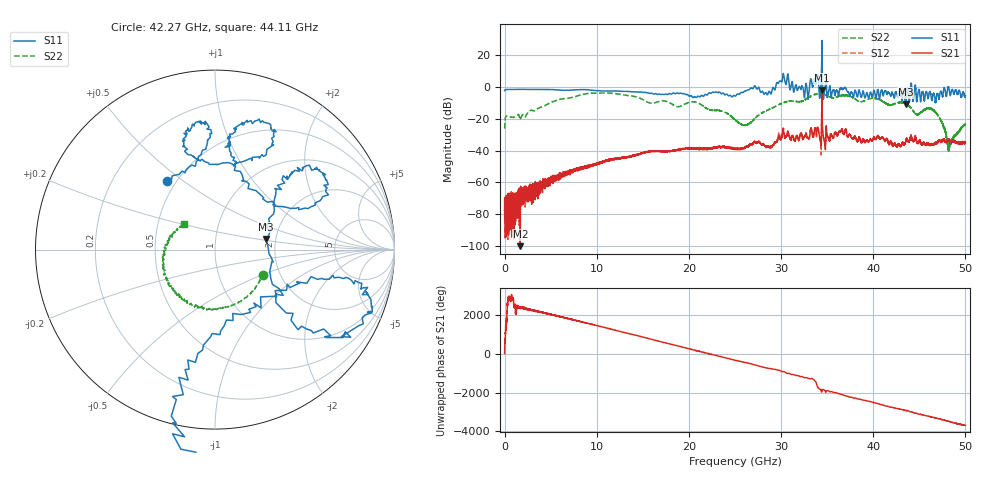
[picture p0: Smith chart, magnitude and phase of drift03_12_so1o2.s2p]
!Created with skrf (http://scikit-rf.org).
# Hz S RI R 50.0
!freq ReS11 ImS11 ReS21 ImS21 ReS12 ImS12 ReS22 ImS22
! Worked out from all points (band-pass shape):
!   10000 points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, 5.3 MHz to 50 GHz, reference 50 ohm
!   highest |S21| = -2.05 dB at 34.43 GHz (marker M1); lowest = -100.1 dB at 1.71 GHz (marker M2)
!   |S21| within 3 dB of the highest: 34.42769 GHz to 34.43459 GHz (6.901 MHz wide, 0.02 % of centre)
!   lowest |S11| = -10.8 dB at 43.52 GHz (marker M3), VSWR 1.81, Z = 88.4 + j11.5 ohm
!   |S11| at or under -10 dB: 43.5082 GHz to 43.53503 GHz (26.83 MHz wide, 0.0616 % of centre)
!   |S22| runs from -40.4 to -3.6 dB; largest |S21 - S12| = 0.26
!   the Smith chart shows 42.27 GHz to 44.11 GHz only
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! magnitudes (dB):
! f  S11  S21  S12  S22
! 5.3 MHz  -2.1  -69.9  -77.9  -26.0
! 320.3 MHz  -1.4  -76.3  -75.1  -18.2
! 1.71 GHz  -1.3  -100.1  -73.1  -20.3
! 8.34 GHz  -1.5  -50.7  -50.7  -4.7
! 16.67 GHz  -4.4  -40.2  -40.3  -9.1
! 20.73 GHz  -6.2  -38.8  -38.6  -9.3
! 25.01 GHz  -5.5  -38.9  -39.0  -20.5
! 26.27 GHz  -2.1  -37.3  -37.5  -23.7
! 28.72 GHz  -2.5  -37.4  -37.5  -14.0
! 30.14 GHz  4.4  -29.5  -29.8  -10.0
! 32.74 GHz  2.0  -29.4  -29.3  -7.4
! 33.34 GHz  2.4  -27.3  -27.7  -5.3
! 33.82 GHz  3.9  -29.0  -29.3  -4.3
! 34.43 GHz  29.5  -2.0  -4.1  -4.0
! 36.49 GHz  -0.2  -27.8  -27.8  -5.4
! 41.67 GHz  -3.3  -35.8  -35.7  -11.1
! 43.52 GHz  -10.8  -34.5  -34.4  -10.4
! 44.73 GHz  -8.9  -34.3  -34.0  -17.0
! 46.66 GHz  -5.5  -35.7  -35.8  -15.0
! 47.5 GHz  -5.7  -33.7  -33.5  -23.2
! 48.22 GHz  -0.7  -33.7  -32.8  -37.0
! 50 GHz  -5.3  -34.8  -34.5  -23.4
